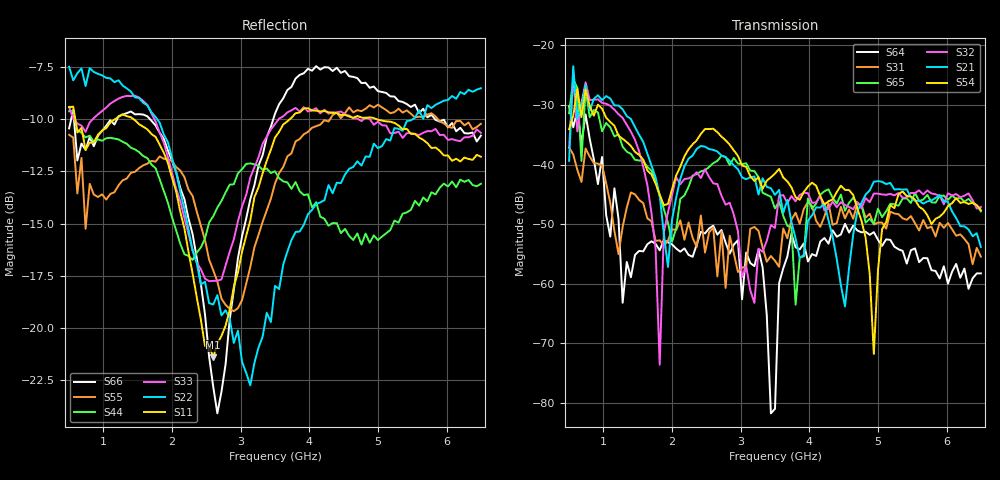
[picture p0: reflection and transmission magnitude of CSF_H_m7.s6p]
!Keysight Technologies,M9804A,MY58100912,A.14.10.03
!Date: Thursday, April 27, 2023 10:28:33
!Correction: S11(C  6-Port  )
!S12(C  6-Port  )
!S13(C  6-Port  )
!S14(C  6-Port  )
!S15(C  6-Port  )
!S16(C  6-Port  )
!S21(C  6-Port  )
!S22(C  6-Port  )
!S23(C  6-Port  )
!S24(C  6-Port  )
!S25(C  6-Port  )
!S26(C  6-Port  )
!S31(C  6-Port  )
!S32(C  6-Port  )
!S33(C  6-Port  )
!S34(C  6-Port  )
!S35(C  6-Port  )
!S36(C  6-Port  )
!S41(C  6-Port  )
!S42(C  6-Port  )
!S43(C  6-Port  )
!S44(C  6-Port  )
!S45(C  6-Port  )
!S46(C  6-Port  )
!S51(C  6-Port  )
!S52(C  6-Port  )
!S53(C  6-Port  )
!S54(C  6-Port  )
!S55(C  6-Port  )
!S56(C  6-Port  )
!S61(C  6-Port  )
!S62(C  6-Port  )
!S63(C  6-Port  )
!S64(C  6-Port  )
!S65(C  6-Port  )
!S66(C  6-Port  )
!S6P File: Measurement: :
# Hz S  RI  R 50
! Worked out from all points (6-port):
!   101 points, 500 MHz to 6.5 GHz, reference 50 ohm
!   strongest paths, dB at 500 MHz, 2 GHz, 3.5 GHz, 5 GHz, 6.5 GHz:
!     S54: -34.1, -44.1, -41.5, -57.8, -47.6
!     S21: -39.4, -49.2, -45.1, -42.8, -53.8
!     S32: -37.2, -45.1, -50.6, -44.9, -47.1
!     S65: -31.4, -53.0, -47.4, -47.4, -47.9
!     S31: -37.1, -50.9, -56.2, -49.8, -55.5
!     S64: -30.2, -53.4, -81.0, -52.6, -58.3
!   lowest |S11| = -21.4 dB at 2.6 GHz (marker M1), VSWR 1.19, Z = 42.4 + j2.19 ohm
!   |S11| at or under -10 dB: 589.2 MHz to 1.169 GHz (579.5 MHz wide, 65.9 % of centre); 1.439 GHz to 3.715 GHz (2.276 GHz wide, 88.3 % of centre); 4.979 GHz to end of sweep
